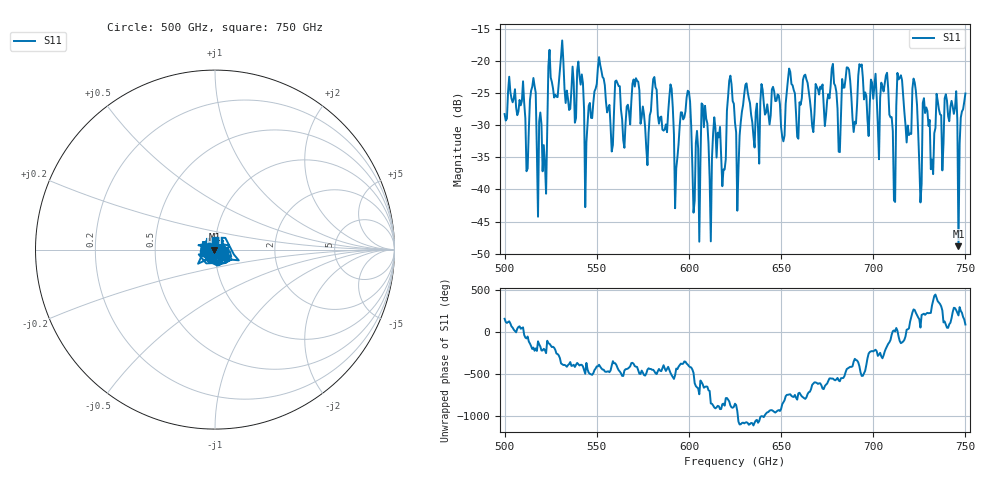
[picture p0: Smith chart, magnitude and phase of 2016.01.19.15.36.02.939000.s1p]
!Created with skrf (http://scikit-rf.org).
# GHz S RI R 50.0
!freq ReS11 ImS11
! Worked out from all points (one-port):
!   401 points, 500 GHz to 750 GHz, reference 50 ohm
!   lowest |S11| = -48.8 dB at 746.2 GHz (marker M1), VSWR 1.01, Z = 49.7 - j0.106 ohm
!   |S11| at or under -10 dB: start of sweep to end of sweep
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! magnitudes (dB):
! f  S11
! 500 GHz  -28.2
! 512.5 GHz  -36.7
! 515.6 GHz  -22.6
! 521.9 GHz  -35.9
! 525 GHz  -22.5
! 531.2 GHz  -16.8
! 544.4 GHz  -32.7
! 551.9 GHz  -20.6
! 562.5 GHz  -23.9
! 590 GHz  -23.6
! 593.8 GHz  -35.0
! 599.4 GHz  -24.6
! 604.4 GHz  -30.9
! 608.1 GHz  -30.3
! 611.9 GHz  -48.1
! 618.8 GHz  -36.9
! 622.5 GHz  -22.3
! 625 GHz  -29.6
! 656.2 GHz  -23.8
! 687.5 GHz  -23.1
! 706.9 GHz  -22.2
! 710.6 GHz  -30.9
! 714.4 GHz  -22.6
! 718.8 GHz  -30.0
! 722.5 GHz  -23.3
! 725 GHz  -36.0
! 746.2 GHz  -48.8
! 750 GHz  -25.0
